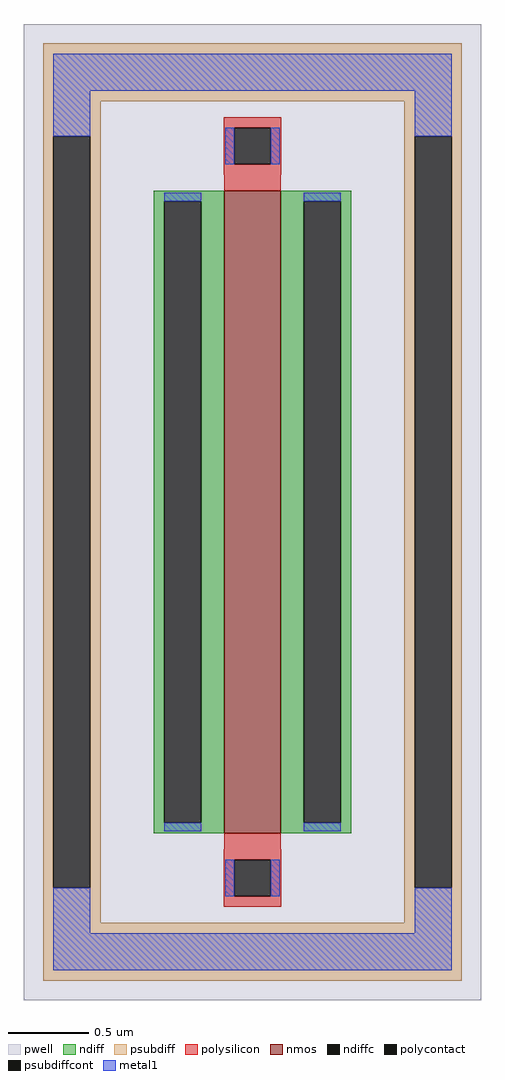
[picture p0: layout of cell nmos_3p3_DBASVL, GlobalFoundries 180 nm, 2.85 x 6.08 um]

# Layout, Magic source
magic
tech gf180mcuC
magscale 1 10
<< pwell >>
rect -285 -608 285 608
<< nmos >>
rect -35 -400 35 400
<< ndiff >>
rect -123 387 -35 400
rect -123 -387 -110 387
rect -64 -387 -35 387
rect -123 -400 -35 -387
rect 35 387 123 400
rect 35 -387 64 387
rect 110 -387 123 387
rect 35 -400 123 -387
<< ndiffc >>
rect -110 -387 -64 387
rect 64 -387 110 387
<< psubdiff >>
rect -261 512 261 584
rect -261 468 -189 512
rect -261 -468 -248 468
rect -202 -468 -189 468
rect 189 468 261 512
rect -261 -512 -189 -468
rect 189 -468 202 468
rect 248 -468 261 468
rect 189 -512 261 -468
rect -261 -584 261 -512
<< psubdiffcont >>
rect -248 -468 -202 468
rect 202 -468 248 468
<< polysilicon >>
rect -36 479 36 492
rect -36 433 -23 479
rect 23 433 36 479
rect -36 420 36 433
rect -35 400 35 420
rect -35 -420 35 -400
rect -36 -433 36 -420
rect -36 -479 -23 -433
rect 23 -479 36 -433
rect -36 -492 36 -479
<< polycontact >>
rect -23 433 23 479
rect -23 -479 23 -433
<< metal1 >>
rect -248 525 248 571
rect -248 468 -202 525
rect -34 433 -23 479
rect 23 433 34 479
rect 202 468 248 525
rect -110 387 -64 398
rect -110 -398 -64 -387
rect 64 387 110 398
rect 64 -398 110 -387
rect -248 -525 -202 -468
rect -34 -479 -23 -433
rect 23 -479 34 -433
rect 202 -525 248 -468
rect -248 -571 248 -525
<< properties >>
string FIXED_BBOX -225 -548 225 548
string gencell nmos_3p3
string library gf180mcu
string parameters w 4 l 0.35 m 1 nf 1 diffcov 100 polycov 100 guard 1 glc 1 grc 1 gtc 0 gbc 0 tbcov 100 rlcov 100 topc 1 botc 1 poverlap 0 doverlap 1 lmin 0.28 wmin 0.22 full_metal 1 compatible {nmos_3p3 nmos_6p0 nmos_6p0_nat}
<< end >>
